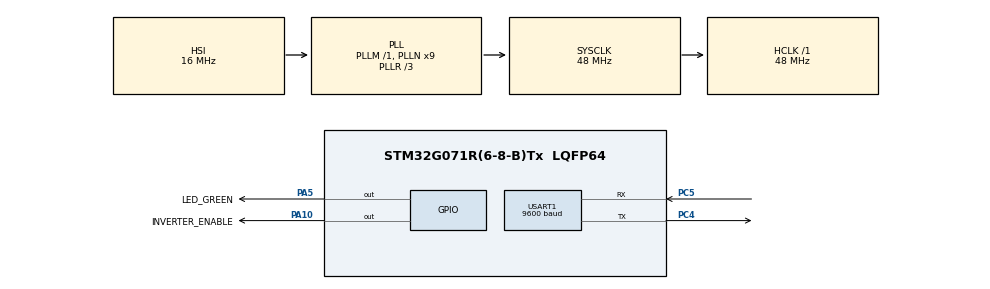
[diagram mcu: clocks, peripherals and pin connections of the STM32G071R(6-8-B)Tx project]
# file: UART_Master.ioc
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Mcu.Family=STM32G0
Mcu.Name=STM32G071R(6-8-B)Tx
Mcu.Package=LQFP64
PA10.GPIO_Label=INVERTER_ENABLE
PA10.GPIO_Speed=GPIO_SPEED_FREQ_HIGH
PA10.Signal=GPIO_Output
PA13.GPIO_Label=TMS
PA13.Mode=Serial_Wire
PA13.Signal=SYS_SWDIO
PA14-BOOT0.GPIO_Label=TCK
PA14-BOOT0.Mode=Serial_Wire
PA14-BOOT0.Signal=SYS_SWCLK
PA2.GPIO_Label=USART2_TX [STLK_TX]
PA2.GPIO_PuPd=GPIO_PULLUP
PA2.Signal=USART2_TX
PA3.GPIO_Label=USART2_RX [STLK_RX]
PA3.GPIO_PuPd=GPIO_PULLUP
PA3.Signal=USART2_RX
PA5.GPIO_Label=LED_GREEN
PA5.GPIO_Speed=GPIO_SPEED_FREQ_HIGH
PA5.Signal=GPIO_Output
PC13.Mode=SYS_WakeUp1
PC13.Signal=SYS_WKUP2
PC14-OSC32_IN\ (PC14).Mode=LSE-External-Oscillator
PC14-OSC32_IN\ (PC14).Signal=RCC_OSC32_IN
PC15-OSC32_OUT\ (PC15).Mode=LSE-External-Oscillator
PC15-OSC32_OUT\ (PC15).Signal=RCC_OSC32_OUT
PC4.Mode=Asynchronous
PC4.Signal=USART1_TX
PC5.Mode=Asynchronous
PC5.Signal=USART1_RX
PF0-OSC_IN\ (PF0).GPIO_Label=MCO
PF0-OSC_IN\ (PF0).Mode=HSE-External-Clock-Source
PF0-OSC_IN\ (PF0).Signal=RCC_OSC_IN
ProjectManager.HeapSize=0x200
ProjectManager.StackSize=0x400
ProjectManager.TargetToolchain=MDK-ARM V5.27
RCC.ADCFreq_Value=48000000
RCC.AHBFreq_Value=48000000
RCC.CortexFreq_Value=48000000
RCC.EXTERNAL_CLOCK_VALUE=12288000
RCC.HCLKFreq_Value=48000000
RCC.HSE_VALUE=8000000
RCC.HSI_VALUE=16000000
RCC.PLLN=9
RCC.PLLR=RCC_PLLR_DIV3
RCC.SYSCLKFreq_VALUE=48000000
RCC.SYSCLKSource=RCC_SYSCLKSOURCE_PLLCLK
RCC.VCOOutputFreq_Value=144000000
USART1.BaudRate=9600
USART1.OverrunDisableParam=ADVFEATURE_OVERRUN_DISABLE
USART1.VirtualMode-Asynchronous=VM_ASYNC
VP_SYS_VS_DBSignals.Mode=DisableDeadBatterySignals
board=NUCLEO-G071RB

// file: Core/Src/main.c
/* USER CODE BEGIN Header */
/**
  ******************************************************************************
  * @file           : main.c
  * @brief          : UART controller that sends requests to either adjust or
  *                   collect information about PFC parameters.
  ******************************************************************************
  * @attention
  *
  ******************************************************************************
  */
/* USER CODE END Header */
#include "main.h"

/* USER CODE BEGIN PTD */

typedef struct{
  volatile int16_t  v_fly_cap;        // flying capacitor voltage
  volatile int16_t  v_dc_bus;         // DC bus voltage
  volatile int16_t  v_bias;           // bias voltage (12V typ.)
  volatile int16_t  v_ac_rms;         // grid voltage
  volatile int32_t  i_ac_rms_mA;      // bidirectional AC current in mA
  volatile int16_t  p_active;         // active power
  volatile uint32_t f_switch;         // inverter switching frequency ( 45.8kHz / 65.2 kHz )
  volatile int16_t  k_c;              // AC current measurement gain
} ReadData_Typedef;

ReadData_Typedef InverterOpCondition = {0, 0, 0, 0, 0, 0, 0, 120};

typedef struct{
  volatile uint8_t  inverter_enable;  // enable bidirectional inverter
  volatile uint16_t v_dc_bus;         // DC bus voltage adjustment
  volatile uint16_t p_active_G2B;     // active power adjustment ( grid-to-battery )
  volatile uint16_t p_active_B2G;     // active power adjustment ( battery-to-grid )
} WriteData_Typedef;

WriteData_Typedef InverterAdCondition = {0,400,3500,3500};

/* USER CODE END PTD */

/* USER CODE BEGIN PD */
#define RX_BUFFER_SIZE 4
#define TX_BUFFER_SIZE 4
#define FUNCTION_NUM 11
/* USER CODE END PD */

UART_HandleTypeDef huart1;

/* USER CODE BEGIN PV */
uint8_t RxBuffer[RX_BUFFER_SIZE];
uint8_t TxBuffer[TX_BUFFER_SIZE];

int16_t VbulkSet_8 = 3200;

uint16_t static PFC_Database[100] = {0};
  // 00 - 24  Adjustment
  // 25 - 49  Information
  // 50 - 74  Error
  // 75 - 99  Error

static const uint8_t FUNCTION_CODE[FUNCTION_NUM] =
{
  1,  // PFC output voltage adjustment
  2,  // Active power G2B
  3,  // Active power B2G
  26, // flying capacitor voltage
  27, // PFC output voltage
  28, // bias voltage
  29, // AC line peak voltage
  30, // AC line peak current
  31, // AC active power
  32, // boost leg switching period
  33  // Current sense gain
};

/* USER CODE END PV */

void SystemClock_Config(void);
static void MX_GPIO_Init(void);
static void MX_USART1_UART_Init(void);
/* USER CODE BEGIN PFP */
void FillBuffer(uint8_t *buffer, uint8_t function, int16_t data);
void CommunicateToNode(uint8_t function, int16_t data);
/* USER CODE END PFP */

int main(void)
{
  /* USER CODE BEGIN 1 */
  uint8_t index;
  /* USER CODE END 1 */

  /* MCU Configuration--------------------------------------------------------*/

  /* Reset of all peripherals, Initializes the Flash interface and the Systick. */
  HAL_Init();

  /* Configure the system clock */
  SystemClock_Config();

  /* Initialize all configured peripherals */
  MX_GPIO_Init();
  MX_USART1_UART_Init();

  /* Infinite loop */
  /* USER CODE BEGIN WHILE */
  while (1)
  {

    for (index = 0; index < FUNCTION_NUM; index++)
    {
      if(InverterAdCondition.inverter_enable > 0){
        HAL_GPIO_WritePin(INVERTER_ENABLE_GPIO_Port, INVERTER_ENABLE_Pin, GPIO_PIN_SET);
      }
      else{
        HAL_GPIO_WritePin(INVERTER_ENABLE_GPIO_Port, INVERTER_ENABLE_Pin, GPIO_PIN_RESET);
      }
      CommunicateToNode(FUNCTION_CODE[index], PFC_Database[index+1]);
    }

    /* USER CODE END WHILE */

  }
}

void SystemClock_Config(void)
{
  RCC_OscInitTypeDef RCC_OscInitStruct = {0};
  RCC_ClkInitTypeDef RCC_ClkInitStruct = {0};
  RCC_PeriphCLKInitTypeDef PeriphClkInit = {0};

  /** Configure the main internal regulator output voltage
  */
  HAL_PWREx_ControlVoltageScaling(PWR_REGULATOR_VOLTAGE_SCALE1);
  /** Initializes the RCC Oscillators according to the specified parameters
  * in the RCC_OscInitTypeDef structure.
  */
  RCC_OscInitStruct.OscillatorType = RCC_OSCILLATORTYPE_HSI;
  RCC_OscInitStruct.HSIState = RCC_HSI_ON;
  RCC_OscInitStruct.HSIDiv = RCC_HSI_DIV1;
  RCC_OscInitStruct.HSICalibrationValue = RCC_HSICALIBRATION_DEFAULT;
  RCC_OscInitStruct.PLL.PLLState = RCC_PLL_ON;
  RCC_OscInitStruct.PLL.PLLSource = RCC_PLLSOURCE_HSI;
  RCC_OscInitStruct.PLL.PLLM = RCC_PLLM_DIV1;
  RCC_OscInitStruct.PLL.PLLN = 9;
  RCC_OscInitStruct.PLL.PLLP = RCC_PLLP_DIV2;
  RCC_OscInitStruct.PLL.PLLQ = RCC_PLLQ_DIV2;
  RCC_OscInitStruct.PLL.PLLR = RCC_PLLR_DIV3;
  if (HAL_RCC_OscConfig(&RCC_OscInitStruct) != HAL_OK)
  {
    Error_Handler();
  }
  /** Initializes the CPU, AHB and APB buses clocks
  */
  RCC_ClkInitStruct.ClockType = RCC_CLOCKTYPE_HCLK|RCC_CLOCKTYPE_SYSCLK
                              |RCC_CLOCKTYPE_PCLK1;
  RCC_ClkInitStruct.SYSCLKSource = RCC_SYSCLKSOURCE_PLLCLK;
  RCC_ClkInitStruct.AHBCLKDivider = RCC_SYSCLK_DIV1;
  RCC_ClkInitStruct.APB1CLKDivider = RCC_HCLK_DIV1;

  if (HAL_RCC_ClockConfig(&RCC_ClkInitStruct, FLASH_LATENCY_1) != HAL_OK)
  {
    Error_Handler();
  }
  /** Initializes the peripherals clocks
  */
  PeriphClkInit.PeriphClockSelection = RCC_PERIPHCLK_USART1;
  PeriphClkInit.Usart1ClockSelection = RCC_USART1CLKSOURCE_PCLK1;
  if (HAL_RCCEx_PeriphCLKConfig(&PeriphClkInit) != HAL_OK)
  {
    Error_Handler();
  }
}

static void MX_USART1_UART_Init(void)
{

  huart1.Instance = USART1;
  huart1.Init.BaudRate = 9600;
  huart1.Init.WordLength = UART_WORDLENGTH_8B;
  huart1.Init.StopBits = UART_STOPBITS_1;
  huart1.Init.Parity = UART_PARITY_NONE;
  huart1.Init.Mode = UART_MODE_TX_RX;
  huart1.Init.HwFlowCtl = UART_HWCONTROL_NONE;
  huart1.Init.OverSampling = UART_OVERSAMPLING_16;
  huart1.Init.OneBitSampling = UART_ONE_BIT_SAMPLE_DISABLE;
  huart1.Init.ClockPrescaler = UART_PRESCALER_DIV1;
  huart1.AdvancedInit.AdvFeatureInit = UART_ADVFEATURE_RXOVERRUNDISABLE_INIT;
  huart1.AdvancedInit.OverrunDisable = UART_ADVFEATURE_OVERRUN_DISABLE;
  if (HAL_UART_Init(&huart1) != HAL_OK)
  {
    Error_Handler();
  }
  if (HAL_UARTEx_SetTxFifoThreshold(&huart1, UART_TXFIFO_THRESHOLD_1_8) != HAL_OK)
  {
    Error_Handler();
  }
  if (HAL_UARTEx_SetRxFifoThreshold(&huart1, UART_RXFIFO_THRESHOLD_1_8) != HAL_OK)
  {
    Error_Handler();
  }
  if (HAL_UARTEx_DisableFifoMode(&huart1) != HAL_OK)
  {
    Error_Handler();
  }

}

static void MX_GPIO_Init(void)
{
  GPIO_InitTypeDef GPIO_InitStruct = {0};

  /* GPIO Ports Clock Enable */
  __HAL_RCC_GPIOC_CLK_ENABLE();
  __HAL_RCC_GPIOF_CLK_ENABLE();
  __HAL_RCC_GPIOA_CLK_ENABLE();

  /*Configure GPIO pin Output Level */
  HAL_GPIO_WritePin(GPIOA, LED_GREEN_Pin|INVERTER_ENABLE_Pin, GPIO_PIN_RESET);

  /*Configure GPIO pins : USART2_TX_Pin USART2_RX_Pin */
  GPIO_InitStruct.Pin = USART2_TX_Pin|USART2_RX_Pin;
  GPIO_InitStruct.Mode = GPIO_MODE_AF_PP;
  GPIO_InitStruct.Pull = GPIO_PULLUP;
  GPIO_InitStruct.Speed = GPIO_SPEED_FREQ_LOW;
  GPIO_InitStruct.Alternate = GPIO_AF1_USART2;
  HAL_GPIO_Init(GPIOA, &GPIO_InitStruct);

  /*Configure GPIO pins : LED_GREEN_Pin INVERTER_ENABLE_Pin */
  GPIO_InitStruct.Pin = LED_GREEN_Pin|INVERTER_ENABLE_Pin;
  GPIO_InitStruct.Mode = GPIO_MODE_OUTPUT_PP;
  GPIO_InitStruct.Pull = GPIO_NOPULL;
  GPIO_InitStruct.Speed = GPIO_SPEED_FREQ_HIGH;
  HAL_GPIO_Init(GPIOA, &GPIO_InitStruct);

}

/* USER CODE BEGIN 4 */

// Fill buffer with function code and additional data
void FillBuffer(uint8_t *buffer, uint8_t function, int16_t data)
{
  buffer[0] = function;
  buffer[1] = (uint8_t)((data & 0xFF00) >> 8);
  buffer[2] = (uint8_t)(data & 0x00FF);
  buffer[3] = buffer[0]^buffer[1]^buffer[2];
}

// communicate to UART node
void CommunicateToNode(uint8_t function, int16_t data)
{
  uint8_t parityCheckRX = 0;

  FillBuffer(TxBuffer, function, data);

    if (HAL_UART_Transmit(&huart1, TxBuffer, TX_BUFFER_SIZE, 5) != HAL_OK)            // 1. send request based on function type
    {
      //Error_Handler();                                                              // transmission was not successful [HAL_TIMEOUT? HAL_ERROR?]
    }
    if (HAL_UART_Receive(&huart1, RxBuffer, RX_BUFFER_SIZE, 20) != HAL_OK)            // 2. wait for 15 ms until response is received
    {                                                                                 // in case of failed transmission HAL_UART_Receive returns HAL_ERROR
      //Error_Handler();                                                              // if no response detected - retransmit the same message again
    }                                                                                 // 3. assess received data
    parityCheckRX = RxBuffer[0]^RxBuffer[1]^RxBuffer[2];
    if(parityCheckRX == RxBuffer[3])                                                  // The received message is good
    {
      if ( RxBuffer[0]<= 25)                                                          // adjustment request
      {

      }
      else if (RxBuffer[0] <= 75)                                                     // information request
      {
        PFC_Database[RxBuffer[0]] = (RxBuffer[1] << 8) | RxBuffer[2];                 // store received PFC variable in a coresponding database location
      }
      else
      {
        // error handling [function code above 50]
        // additional check could also be carried out for invalid function code

      }
    }
    InverterOpCondition.v_fly_cap = PFC_Database[26]>>3;
    InverterOpCondition.v_dc_bus = PFC_Database[27]>>3;
    InverterOpCondition.v_bias = PFC_Database[28]/140;
    if(PFC_Database[30] < (1<<15)){
      InverterOpCondition.v_ac_rms = (PFC_Database[29]*25)/141;
		}
		else{
      InverterOpCondition.v_ac_rms = ((PFC_Database[29]-(1<<16))*25)/141;
		}
    if(PFC_Database[30] < (1<<15)){
      InverterOpCondition.i_ac_rms_mA = (PFC_Database[30]*1000)/(1.41*(InverterOpCondition.k_c));
    }
		else{
      InverterOpCondition.i_ac_rms_mA = ((PFC_Database[30]-(1<<16))*1000)/(1.41*(InverterOpCondition.k_c));
		}
    if(PFC_Database[31] < (1<<15)){             // Data sent by the slave node is both positive and negative but the master can only see the positve number
      InverterOpCondition.p_active = PFC_Database[31]>>3;                  // So this step is required to converter unsigned integer to signed integer data
    }
    else{
      InverterOpCondition.p_active = (PFC_Database[31]-(1<<16))>>3;
    }
    InverterOpCondition.f_switch = 48e6/PFC_Database[32];
    InverterOpCondition.k_c = PFC_Database[33];
    if(PFC_Database[51] == 255){                                                      // Reset InverterAdCondition variable when receiving the special 51
      InverterAdCondition.inverter_enable = 0;                                        // request from the slave node
      InverterAdCondition.v_dc_bus = 400;
      InverterAdCondition.p_active_B2G = 3500;
      InverterAdCondition.p_active_G2B = 3500;
      PFC_Database[51] = 0;
    }

    PFC_Database[1] = InverterAdCondition.v_dc_bus<<3;
    PFC_Database[2] = InverterAdCondition.p_active_G2B<<3;
    PFC_Database[3] = InverterAdCondition.p_active_B2G<<3;

}

/* USER CODE END 4 */

void Error_Handler(void)
{
  __disable_irq();
  while (1)
  {
  }
}

/************************ (C) COPYRIGHT STMicroelectronics *****END OF FILE****/
